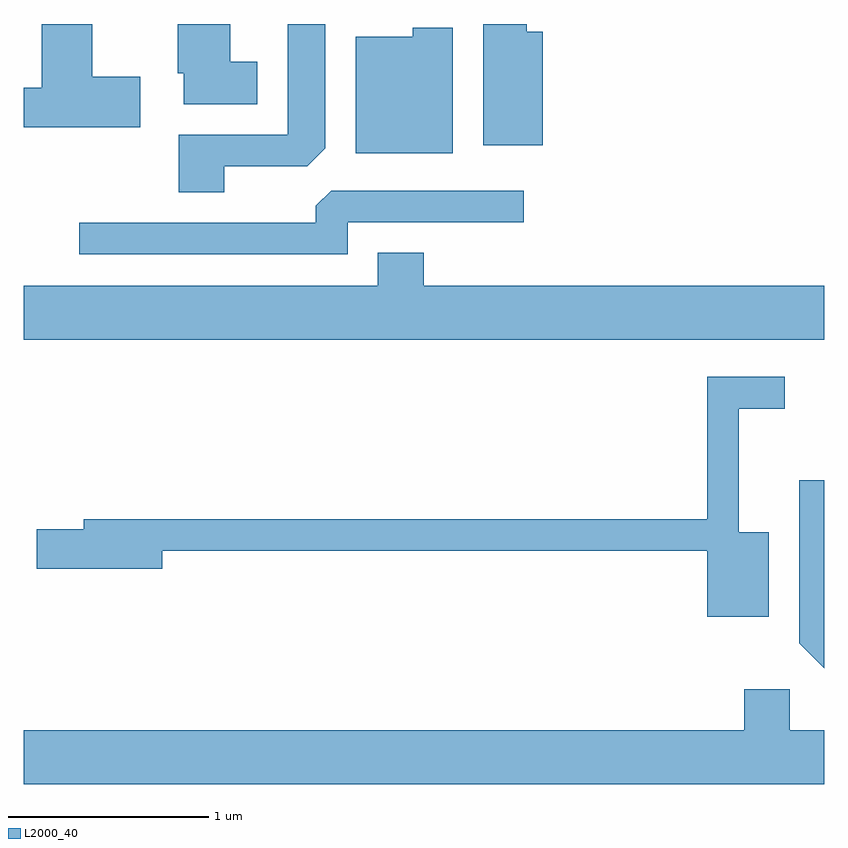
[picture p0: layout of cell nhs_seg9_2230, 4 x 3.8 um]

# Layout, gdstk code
import gdstk
lib = gdstk.Library(unit=1e-6, precision=1e-09)
def P(c, l, *ps):  # polygons
    for p in ps: c.add(gdstk.Polygon(p, *l))
L2000_40 = (2000, 40)

nhs_seg9_2230 = lib.new_cell('nhs_seg9_2230')
P(nhs_seg9_2230, L2000_40, [(250.614,2063.721),(251.029,2063.721),(251.119,2063.812),(251.119,2064.432),(250.931,2064.432),(250.931,2063.879),(250.386,2063.879),(250.386,2063.591),(250.614,2063.591)],
  [(250.779,2064.244),(250.644,2064.244),(250.644,2064.432),(250.381,2064.432),(250.381,2064.186),(250.411,2064.186),(250.411,2064.031),(250.779,2064.031)],
  [(250.194,2064.169),(249.954,2064.169),(249.954,2064.432),(249.701,2064.432),(249.701,2064.114),(249.611,2064.114),(249.611,2063.916),(250.194,2063.916)],
  [(252.204,2064.394),(252.124,2064.394),(252.124,2064.432),(251.906,2064.432),(251.906,2063.826),(252.204,2063.826)],
  [(251.754,2064.414),(251.556,2064.414),(251.556,2064.369),(251.271,2064.369),(251.271,2063.786),(251.754,2063.786)],
  [(251.229,2063.441),(252.108,2063.441),(252.108,2063.599),(251.147,2063.599),(251.071,2063.524),(251.071,2063.439),(249.888,2063.439),(249.888,2063.281),(251.229,2063.281)],
  [(253.611,2063.124),(251.609,2063.124),(251.609,2063.289),(251.381,2063.289),(251.381,2063.124),(249.611,2063.124),(249.611,2062.856),(253.611,2062.856)],
  [(253.334,2061.894),(253.184,2061.894),(253.184,2062.511),(253.413,2062.511),(253.413,2062.669),(253.026,2062.669),(253.026,2061.959),(249.911,2061.959),(249.911,2061.909),(249.676,2061.909),(249.676,2061.711),(250.304,2061.711),(250.304,2061.801),(253.026,2061.801),(253.026,2061.471),(253.334,2061.471)],
  [(253.611,2062.153),(253.486,2062.153),(253.486,2061.338),(253.611,2061.214)],
  [(253.611,2060.904),(253.439,2060.904),(253.439,2061.109),(253.211,2061.109),(253.211,2060.904),(249.611,2060.904),(249.611,2060.636),(253.611,2060.636)])

lib.write_gds('nhs_seg9_2230.gds')
